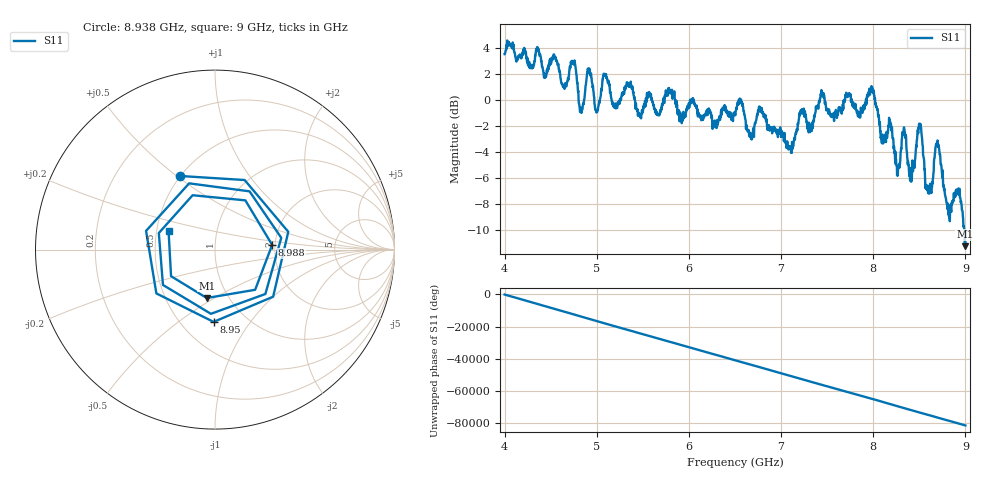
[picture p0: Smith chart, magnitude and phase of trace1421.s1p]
! Created with skrf 1.8.0 (http://scikit-rf.org).
# Hz S RI R 50.0
!freq ReS11 ImS11
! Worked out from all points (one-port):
!   1601 points, 4 GHz to 9 GHz, reference 50 ohm
!   lowest |S11| = -11.3 dB at 8.994 GHz (marker M1), VSWR 1.75, Z = 39.6 - j23.1 ohm
!   |S11| at or under -10 dB: 8.991018 GHz to end of sweep
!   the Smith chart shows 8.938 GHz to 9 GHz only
!   S11 on the Smith chart (normalised r, x): 8.938 GHz: 0.50, +0.51; 8.95 GHz: 0.71, -0.68; 8.988 GHz: 1.93, +0.11; 9 GHz: 0.58, +0.13
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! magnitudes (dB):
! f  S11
! 4 GHz  3.5
! 4.625 GHz  1.2
! 4.744 GHz  2.8
! 4.828 GHz  -0.6
! 4.916 GHz  2.4
! 5 GHz  -0.8
! 5.088 GHz  2.0
! 5.25 GHz  0.1
! 5.875 GHz  -1.0
! 6.5 GHz  -1.0
! 7.125 GHz  -3.7
! 7.444 GHz  0.6
! 7.75 GHz  0.3
! 7.994 GHz  0.8
! 8.1 GHz  -2.6
! 8.269 GHz  -5.3
! 8.334 GHz  -2.1
! 8.375 GHz  -5.0
! 8.422 GHz  -5.2
! 8.503 GHz  -2.1
! 8.591 GHz  -7.0
! 8.694 GHz  -3.3
! 8.809 GHz  -8.0
! 8.938 GHz  -6.8
! 8.95 GHz  -7.9
! 8.988 GHz  -9.9
! 8.994 GHz  -11.3
! 9 GHz  -11.1
